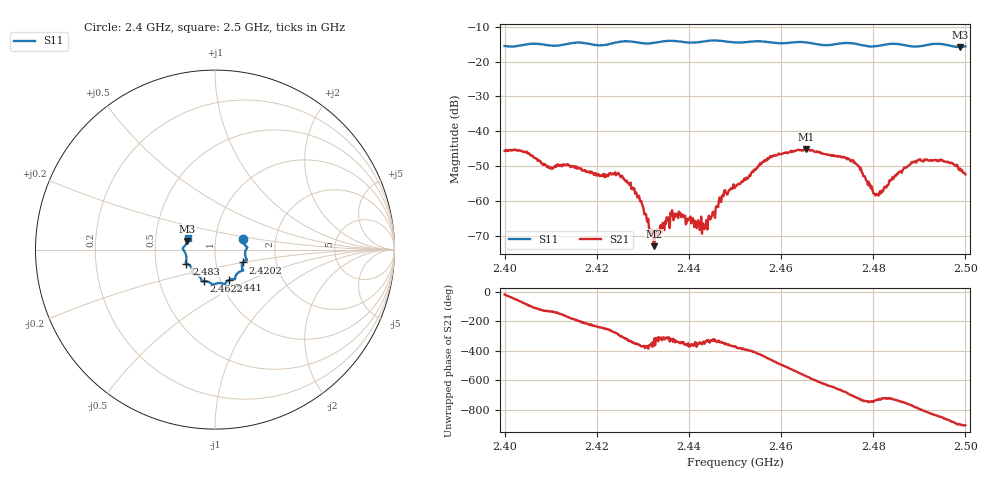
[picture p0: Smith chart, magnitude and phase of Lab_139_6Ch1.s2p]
# Hz S RI R 50
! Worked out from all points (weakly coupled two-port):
!   601 points, 2.4 GHz to 2.5 GHz, reference 50 ohm
!   highest |S21| = -45.23 dB at 2.4653 GHz (marker M1); lowest = -73.0 dB at 2.4325 GHz (marker M2)
!   lowest |S11| = -15.8 dB at 2.4988 GHz (marker M3), VSWR 1.39, Z = 36.4 + j3.49 ohm
!   |S11| at or under -10 dB: start of sweep to end of sweep
!   S12 and S22 are empty: the file has one direction only
!   S11 on the Smith chart (normalised r, x): 2.4 GHz: 1.36, +0.17; 2.4202 GHz: 1.35, -0.20; 2.441 GHz: 1.09, -0.39; 2.4622 GHz: 0.83, -0.30; 2.483 GHz: 0.72, -0.12; 2.5 GHz: 0.73, +0.09
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2.4e9  0.1559 0.0601  0.00498 -0.0016  0 0  0 0
2.416667e9  0.1773 -0.0581  -0.0026 0.00131  0 0  0 0
2.420167e9  0.1557 -0.0717  -0.00132 0.00196  0 0  0 0
2.426833e9  0.1565 -0.1167  0.00161 0.000817  0 0  0 0
2.4325e9  0.1154 -0.1453  0.00016 0.000157  0 0  0 0
2.433333e9  0.1128 -0.1525  0.000307 0.000142  0 0  0 0
2.4365e9  0.1098 -0.1653  0.000593 0.000231  0 0  0 0
2.441e9  0.0767 -0.1706  0.000529 -5.86e-05  0 0  0 0
2.443667e9  0.0583 -0.1874  0.000432 0.000208  0 0  0 0
2.447667e9  0.0453 -0.1904  0.00136 0.000315  0 0  0 0
2.45e9  0.0265 -0.1861  0.00152 -0.000256  0 0  0 0
2.457167e9  -0.0196 -0.19  -0.000135 -0.00393  0 0  0 0
2.462167e9  -0.0634 -0.1761  -0.00504 -0.00147  0 0  0 0
2.465333e9  -0.0744 -0.1736  -0.00472 0.00278  0 0  0 0
2.466667e9  -0.0762 -0.1667  -0.0034 0.00412  0 0  0 0
2.475833e9  -0.1255 -0.1314  0.00346 0.000516  0 0  0 0
2.4805e9  -0.1403 -0.0888  0.00115 -0.000329  0 0  0 0
2.483e9  -0.1592 -0.0779  0.00168 -0.000101  0 0  0 0
2.483333e9  -0.1608 -0.0773  0.00172 1.08e-05  0 0  0 0
2.49e9  -0.1642 -0.0218  0.001 -0.0038  0 0  0 0
2.498833e9  -0.1552 0.0466  -0.00292 7.07e-05  0 0  0 0
2.5e9  -0.153 0.0631  -0.00239 0.000225  0 0  0 0
